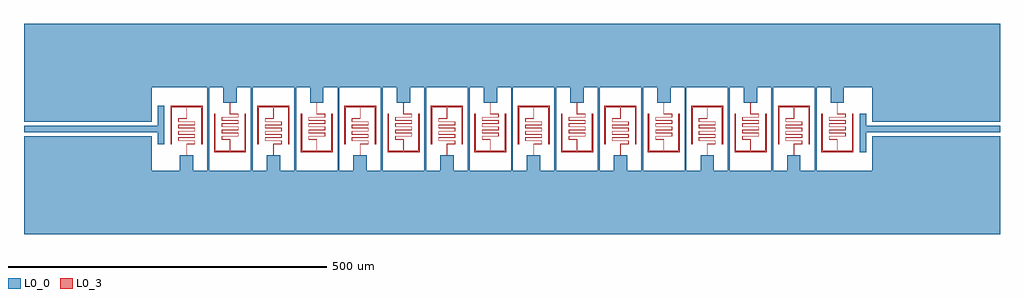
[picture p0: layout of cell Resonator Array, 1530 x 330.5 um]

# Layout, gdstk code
import gdstk
lib = gdstk.Library(unit=1e-6, precision=1e-09)
def P(c, l, *ps):  # polygons
    for p in ps: c.add(gdstk.Polygon(p, *l))
L0_0 = (0, 0)
L0_3 = (0, 3)

resonator_array = lib.new_cell('Resonator Array')
P(resonator_array, L0_0, [(-35,0),(-45,0),(-45,-31.25),(-255,-31.25),(-255,-41.25),(-45,-41.25),(-45,-60),(-35,-60)],
  [(1065,-41.25),(1275,-41.25),(1275,-31.25),(1065,-31.25),(1065,-12.5),(1055,-12.5),(1055,-72.5),(1065,-72.5)],
  [(1009.5,29),(1009.5,5),(1030,5),(1030,29),(1075,29),(1075,-25.25),(1275,-25.25),(1275,129),(-255,129),(-255,-25.25),(-55,-25.25),(-55,29),(35.5,29),(57.5,29),(57.5,5),(78.5,5),(78.5,29),(100.5,29),(100.5,-101.5),(103.5,-101.5),(103.5,29),(171.5,29),(193.5,29),(193.5,5),(214.5,5),(214.5,29),(236.5,29),(236.5,-101.5),(239.5,-101.5),(239.5,29),(307.5,29),(329.5,29),(329.5,5),(350.5,5),(350.5,29),(372.5,29),(372.5,-101.5),(375.5,-101.5),(375.5,29),(443.5,29),(465.5,29),(465.5,5),(486.5,5),(486.5,29),(508.5,29),(508.5,-101.5),(511.5,-101.5),(511.5,29),(579.5,29),(601.5,29),(601.5,5),(622.5,5),(622.5,29),(644.5,29),(644.5,-101.5),(647.5,-101.5),(647.5,29),(715.5,29),(737.5,29),(737.5,5),(758.5,5),(758.5,29),(780.5,29),(780.5,-101.5),(783.5,-101.5),(783.5,29),(851.5,29),(873.5,29),(873.5,5),(894.5,5),(894.5,29),(916.5,29),(916.5,-101.5),(919.5,-101.5),(919.5,29),(984.5,29),(984.5,-101.5),(962,-101.5),(962,-77.5),(941.5,-77.5),(941.5,-101.5),(919.5,-101.5),(916.5,-101.5),(851.5,-101.5),(851.5,29),(783.5,29),(848.5,29),(848.5,-101.5),(826.5,-101.5),(826.5,-77.5),(805.5,-77.5),(805.5,-101.5),(783.5,-101.5),(780.5,-101.5),(715.5,-101.5),(715.5,29),(647.5,29),(712.5,29),(712.5,-101.5),(690.5,-101.5),(690.5,-77.5),(669.5,-77.5),(669.5,-101.5),(647.5,-101.5),(644.5,-101.5),(579.5,-101.5),(579.5,29),(511.5,29),(576.5,29),(576.5,-101.5),(554.5,-101.5),(554.5,-77.5),(533.5,-77.5),(533.5,-101.5),(511.5,-101.5),(508.5,-101.5),(443.5,-101.5),(443.5,29),(375.5,29),(440.5,29),(440.5,-101.5),(418.5,-101.5),(418.5,-77.5),(397.5,-77.5),(397.5,-101.5),(375.5,-101.5),(372.5,-101.5),(307.5,-101.5),(307.5,29),(239.5,29),(304.5,29),(304.5,-101.5),(282.5,-101.5),(282.5,-77.5),(261.5,-77.5),(261.5,-101.5),(239.5,-101.5),(236.5,-101.5),(171.5,-101.5),(171.5,29),(103.5,29),(168.5,29),(168.5,-101.5),(146.5,-101.5),(146.5,-77.5),(125.5,-77.5),(125.5,-101.5),(103.5,-101.5),(100.5,-101.5),(35.5,-101.5),(35.5,29),(-55,29),(32.5,29),(32.5,-101.5),(10.5,-101.5),(10.5,-77.5),(-10.5,-77.5),(-10.5,-101.5),(-55,-101.5),(-55,-47.25),(-255,-47.25),(-255,-201.5),(1275,-201.5),(1275,-47.25),(1075,-47.25),(1075,-101.5),(987.5,-101.5),(987.5,29)])
P(resonator_array, L0_3, [(-25,-60),(-23,-60),(-23,-2),(23,-2),(23,-60),(25,-60),(25,0),(-25,0)],
  [(0.25,-2),(-0.25,-2),(-0.25,-19.5),(-13,-19.5),(-13,-25),(0,-25),(12.5,-25),(12.5,-29.5),(0,-29.5),(-13,-29.5),(-13,-35),(0,-35),(12.5,-35),(12.5,-39.5),(0,-39.5),(-13,-39.5),(-13,-45),(0,-45),(12.5,-45),(12.5,-49.5),(0,-49.5),(-13,-49.5),(-13,-55),(0,-55),(12.5,-55),(12.5,-59.5),(-0.25,-59.5),(-0.25,-77.5),(0.25,-77.5),(0.25,-60),(13,-60),(13,-54.5),(0,-54.5),(-12.5,-54.5),(-12.5,-50),(0,-50),(13,-50),(13,-44.5),(0,-44.5),(-12.5,-44.5),(-12.5,-40),(0,-40),(13,-40),(13,-34.5),(0,-34.5),(-12.5,-34.5),(-12.5,-30),(0,-30),(13,-30),(13,-24.5),(0,-24.5),(-12.5,-24.5),(-12.5,-20),(0.25,-20)],
  [(45,-12.5),(43,-12.5),(43,-72.5),(93,-72.5),(93,-12.5),(91,-12.5),(91,-70.5),(45,-70.5)],
  [(67.75,-70.5),(68.25,-70.5),(68.25,-52.5),(55.5,-52.5),(55.5,-48),(68,-48),(81,-48),(81,-42.5),(68,-42.5),(55.5,-42.5),(55.5,-38),(68,-38),(81,-38),(81,-32.5),(68,-32.5),(55.5,-32.5),(55.5,-28),(68,-28),(81,-28),(81,-22.5),(68,-22.5),(55.5,-22.5),(55.5,-18),(68,-18),(81,-18),(81,-12.5),(68.25,-12.5),(68.25,5),(67.75,5),(67.75,-13),(80.5,-13),(80.5,-17.5),(68,-17.5),(55,-17.5),(55,-23),(68,-23),(80.5,-23),(80.5,-27.5),(68,-27.5),(55,-27.5),(55,-33),(68,-33),(80.5,-33),(80.5,-37.5),(68,-37.5),(55,-37.5),(55,-43),(68,-43),(80.5,-43),(80.5,-47.5),(68,-47.5),(55,-47.5),(55,-53),(67.75,-53)],
  [(111,-60),(113,-60),(113,-2),(159,-2),(159,-60),(161,-60),(161,0),(111,0)],
  [(136.25,-2),(135.75,-2),(135.75,-19.5),(123,-19.5),(123,-25),(136,-25),(148.5,-25),(148.5,-29.5),(136,-29.5),(123,-29.5),(123,-35),(136,-35),(148.5,-35),(148.5,-39.5),(136,-39.5),(123,-39.5),(123,-45),(136,-45),(148.5,-45),(148.5,-49.5),(136,-49.5),(123,-49.5),(123,-55),(136,-55),(148.5,-55),(148.5,-59.5),(135.75,-59.5),(135.75,-77.5),(136.25,-77.5),(136.25,-60),(149,-60),(149,-54.5),(136,-54.5),(123.5,-54.5),(123.5,-50),(136,-50),(149,-50),(149,-44.5),(136,-44.5),(123.5,-44.5),(123.5,-40),(136,-40),(149,-40),(149,-34.5),(136,-34.5),(123.5,-34.5),(123.5,-30),(136,-30),(149,-30),(149,-24.5),(136,-24.5),(123.5,-24.5),(123.5,-20),(136.25,-20)],
  [(181,-12.5),(179,-12.5),(179,-72.5),(229,-72.5),(229,-12.5),(227,-12.5),(227,-70.5),(181,-70.5)],
  [(203.75,-70.5),(204.25,-70.5),(204.25,-52.5),(191.5,-52.5),(191.5,-48),(204,-48),(217,-48),(217,-42.5),(204,-42.5),(191.5,-42.5),(191.5,-38),(204,-38),(217,-38),(217,-32.5),(204,-32.5),(191.5,-32.5),(191.5,-28),(204,-28),(217,-28),(217,-22.5),(204,-22.5),(191.5,-22.5),(191.5,-18),(204,-18),(217,-18),(217,-12.5),(204.25,-12.5),(204.25,5),(203.75,5),(203.75,-13),(216.5,-13),(216.5,-17.5),(204,-17.5),(191,-17.5),(191,-23),(204,-23),(216.5,-23),(216.5,-27.5),(204,-27.5),(191,-27.5),(191,-33),(204,-33),(216.5,-33),(216.5,-37.5),(204,-37.5),(191,-37.5),(191,-43),(204,-43),(216.5,-43),(216.5,-47.5),(204,-47.5),(191,-47.5),(191,-53),(203.75,-53)],
  [(247,-60),(249,-60),(249,-2),(295,-2),(295,-60),(297,-60),(297,0),(247,0)],
  [(272.25,-2),(271.75,-2),(271.75,-19.5),(259,-19.5),(259,-25),(272,-25),(284.5,-25),(284.5,-29.5),(272,-29.5),(259,-29.5),(259,-35),(272,-35),(284.5,-35),(284.5,-39.5),(272,-39.5),(259,-39.5),(259,-45),(272,-45),(284.5,-45),(284.5,-49.5),(272,-49.5),(259,-49.5),(259,-55),(272,-55),(284.5,-55),(284.5,-59.5),(271.75,-59.5),(271.75,-77.5),(272.25,-77.5),(272.25,-60),(285,-60),(285,-54.5),(272,-54.5),(259.5,-54.5),(259.5,-50),(272,-50),(285,-50),(285,-44.5),(272,-44.5),(259.5,-44.5),(259.5,-40),(272,-40),(285,-40),(285,-34.5),(272,-34.5),(259.5,-34.5),(259.5,-30),(272,-30),(285,-30),(285,-24.5),(272,-24.5),(259.5,-24.5),(259.5,-20),(272.25,-20)],
  [(317,-12.5),(315,-12.5),(315,-72.5),(365,-72.5),(365,-12.5),(363,-12.5),(363,-70.5),(317,-70.5)],
  [(339.75,-70.5),(340.25,-70.5),(340.25,-52.5),(327.5,-52.5),(327.5,-48),(340,-48),(353,-48),(353,-42.5),(340,-42.5),(327.5,-42.5),(327.5,-38),(340,-38),(353,-38),(353,-32.5),(340,-32.5),(327.5,-32.5),(327.5,-28),(340,-28),(353,-28),(353,-22.5),(340,-22.5),(327.5,-22.5),(327.5,-18),(340,-18),(353,-18),(353,-12.5),(340.25,-12.5),(340.25,5),(339.75,5),(339.75,-13),(352.5,-13),(352.5,-17.5),(340,-17.5),(327,-17.5),(327,-23),(340,-23),(352.5,-23),(352.5,-27.5),(340,-27.5),(327,-27.5),(327,-33),(340,-33),(352.5,-33),(352.5,-37.5),(340,-37.5),(327,-37.5),(327,-43),(340,-43),(352.5,-43),(352.5,-47.5),(340,-47.5),(327,-47.5),(327,-53),(339.75,-53)],
  [(383,-60),(385,-60),(385,-2),(431,-2),(431,-60),(433,-60),(433,0),(383,0)],
  [(408.25,-2),(407.75,-2),(407.75,-19.5),(395,-19.5),(395,-25),(408,-25),(420.5,-25),(420.5,-29.5),(408,-29.5),(395,-29.5),(395,-35),(408,-35),(420.5,-35),(420.5,-39.5),(408,-39.5),(395,-39.5),(395,-45),(408,-45),(420.5,-45),(420.5,-49.5),(408,-49.5),(395,-49.5),(395,-55),(408,-55),(420.5,-55),(420.5,-59.5),(407.75,-59.5),(407.75,-77.5),(408.25,-77.5),(408.25,-60),(421,-60),(421,-54.5),(408,-54.5),(395.5,-54.5),(395.5,-50),(408,-50),(421,-50),(421,-44.5),(408,-44.5),(395.5,-44.5),(395.5,-40),(408,-40),(421,-40),(421,-34.5),(408,-34.5),(395.5,-34.5),(395.5,-30),(408,-30),(421,-30),(421,-24.5),(408,-24.5),(395.5,-24.5),(395.5,-20),(408.25,-20)],
  [(453,-12.5),(451,-12.5),(451,-72.5),(501,-72.5),(501,-12.5),(499,-12.5),(499,-70.5),(453,-70.5)],
  [(475.75,-70.5),(476.25,-70.5),(476.25,-52.5),(463.5,-52.5),(463.5,-48),(476,-48),(489,-48),(489,-42.5),(476,-42.5),(463.5,-42.5),(463.5,-38),(476,-38),(489,-38),(489,-32.5),(476,-32.5),(463.5,-32.5),(463.5,-28),(476,-28),(489,-28),(489,-22.5),(476,-22.5),(463.5,-22.5),(463.5,-18),(476,-18),(489,-18),(489,-12.5),(476.25,-12.5),(476.25,5),(475.75,5),(475.75,-13),(488.5,-13),(488.5,-17.5),(476,-17.5),(463,-17.5),(463,-23),(476,-23),(488.5,-23),(488.5,-27.5),(476,-27.5),(463,-27.5),(463,-33),(476,-33),(488.5,-33),(488.5,-37.5),(476,-37.5),(463,-37.5),(463,-43),(476,-43),(488.5,-43),(488.5,-47.5),(476,-47.5),(463,-47.5),(463,-53),(475.75,-53)],
  [(519,-60),(521,-60),(521,-2),(567,-2),(567,-60),(569,-60),(569,0),(519,0)],
  [(544.25,-2),(543.75,-2),(543.75,-19.5),(531,-19.5),(531,-25),(544,-25),(556.5,-25),(556.5,-29.5),(544,-29.5),(531,-29.5),(531,-35),(544,-35),(556.5,-35),(556.5,-39.5),(544,-39.5),(531,-39.5),(531,-45),(544,-45),(556.5,-45),(556.5,-49.5),(544,-49.5),(531,-49.5),(531,-55),(544,-55),(556.5,-55),(556.5,-59.5),(543.75,-59.5),(543.75,-77.5),(544.25,-77.5),(544.25,-60),(557,-60),(557,-54.5),(544,-54.5),(531.5,-54.5),(531.5,-50),(544,-50),(557,-50),(557,-44.5),(544,-44.5),(531.5,-44.5),(531.5,-40),(544,-40),(557,-40),(557,-34.5),(544,-34.5),(531.5,-34.5),(531.5,-30),(544,-30),(557,-30),(557,-24.5),(544,-24.5),(531.5,-24.5),(531.5,-20),(544.25,-20)],
  [(589,-12.5),(587,-12.5),(587,-72.5),(637,-72.5),(637,-12.5),(635,-12.5),(635,-70.5),(589,-70.5)],
  [(611.75,-70.5),(612.25,-70.5),(612.25,-52.5),(599.5,-52.5),(599.5,-48),(612,-48),(625,-48),(625,-42.5),(612,-42.5),(599.5,-42.5),(599.5,-38),(612,-38),(625,-38),(625,-32.5),(612,-32.5),(599.5,-32.5),(599.5,-28),(612,-28),(625,-28),(625,-22.5),(612,-22.5),(599.5,-22.5),(599.5,-18),(612,-18),(625,-18),(625,-12.5),(612.25,-12.5),(612.25,5),(611.75,5),(611.75,-13),(624.5,-13),(624.5,-17.5),(612,-17.5),(599,-17.5),(599,-23),(612,-23),(624.5,-23),(624.5,-27.5),(612,-27.5),(599,-27.5),(599,-33),(612,-33),(624.5,-33),(624.5,-37.5),(612,-37.5),(599,-37.5),(599,-43),(612,-43),(624.5,-43),(624.5,-47.5),(612,-47.5),(599,-47.5),(599,-53),(611.75,-53)],
  [(655,-60),(657,-60),(657,-2),(703,-2),(703,-60),(705,-60),(705,0),(655,0)],
  [(680.25,-2),(679.75,-2),(679.75,-19.5),(667,-19.5),(667,-25),(680,-25),(692.5,-25),(692.5,-29.5),(680,-29.5),(667,-29.5),(667,-35),(680,-35),(692.5,-35),(692.5,-39.5),(680,-39.5),(667,-39.5),(667,-45),(680,-45),(692.5,-45),(692.5,-49.5),(680,-49.5),(667,-49.5),(667,-55),(680,-55),(692.5,-55),(692.5,-59.5),(679.75,-59.5),(679.75,-77.5),(680.25,-77.5),(680.25,-60),(693,-60),(693,-54.5),(680,-54.5),(667.5,-54.5),(667.5,-50),(680,-50),(693,-50),(693,-44.5),(680,-44.5),(667.5,-44.5),(667.5,-40),(680,-40),(693,-40),(693,-34.5),(680,-34.5),(667.5,-34.5),(667.5,-30),(680,-30),(693,-30),(693,-24.5),(680,-24.5),(667.5,-24.5),(667.5,-20),(680.25,-20)],
  [(725,-12.5),(723,-12.5),(723,-72.5),(773,-72.5),(773,-12.5),(771,-12.5),(771,-70.5),(725,-70.5)],
  [(747.75,-70.5),(748.25,-70.5),(748.25,-52.5),(735.5,-52.5),(735.5,-48),(748,-48),(761,-48),(761,-42.5),(748,-42.5),(735.5,-42.5),(735.5,-38),(748,-38),(761,-38),(761,-32.5),(748,-32.5),(735.5,-32.5),(735.5,-28),(748,-28),(761,-28),(761,-22.5),(748,-22.5),(735.5,-22.5),(735.5,-18),(748,-18),(761,-18),(761,-12.5),(748.25,-12.5),(748.25,5),(747.75,5),(747.75,-13),(760.5,-13),(760.5,-17.5),(748,-17.5),(735,-17.5),(735,-23),(748,-23),(760.5,-23),(760.5,-27.5),(748,-27.5),(735,-27.5),(735,-33),(748,-33),(760.5,-33),(760.5,-37.5),(748,-37.5),(735,-37.5),(735,-43),(748,-43),(760.5,-43),(760.5,-47.5),(748,-47.5),(735,-47.5),(735,-53),(747.75,-53)],
  [(791,-60),(793,-60),(793,-2),(839,-2),(839,-60),(841,-60),(841,0),(791,0)],
  [(816.25,-2),(815.75,-2),(815.75,-19.5),(803,-19.5),(803,-25),(816,-25),(828.5,-25),(828.5,-29.5),(816,-29.5),(803,-29.5),(803,-35),(816,-35),(828.5,-35),(828.5,-39.5),(816,-39.5),(803,-39.5),(803,-45),(816,-45),(828.5,-45),(828.5,-49.5),(816,-49.5),(803,-49.5),(803,-55),(816,-55),(828.5,-55),(828.5,-59.5),(815.75,-59.5),(815.75,-77.5),(816.25,-77.5),(816.25,-60),(829,-60),(829,-54.5),(816,-54.5),(803.5,-54.5),(803.5,-50),(816,-50),(829,-50),(829,-44.5),(816,-44.5),(803.5,-44.5),(803.5,-40),(816,-40),(829,-40),(829,-34.5),(816,-34.5),(803.5,-34.5),(803.5,-30),(816,-30),(829,-30),(829,-24.5),(816,-24.5),(803.5,-24.5),(803.5,-20),(816.25,-20)],
  [(861,-12.5),(859,-12.5),(859,-72.5),(909,-72.5),(909,-12.5),(907,-12.5),(907,-70.5),(861,-70.5)],
  [(883.75,-70.5),(884.25,-70.5),(884.25,-52.5),(871.5,-52.5),(871.5,-48),(884,-48),(897,-48),(897,-42.5),(884,-42.5),(871.5,-42.5),(871.5,-38),(884,-38),(897,-38),(897,-32.5),(884,-32.5),(871.5,-32.5),(871.5,-28),(884,-28),(897,-28),(897,-22.5),(884,-22.5),(871.5,-22.5),(871.5,-18),(884,-18),(897,-18),(897,-12.5),(884.25,-12.5),(884.25,5),(883.75,5),(883.75,-13),(896.5,-13),(896.5,-17.5),(884,-17.5),(871,-17.5),(871,-23),(884,-23),(896.5,-23),(896.5,-27.5),(884,-27.5),(871,-27.5),(871,-33),(884,-33),(896.5,-33),(896.5,-37.5),(884,-37.5),(871,-37.5),(871,-43),(884,-43),(896.5,-43),(896.5,-47.5),(884,-47.5),(871,-47.5),(871,-53),(883.75,-53)],
  [(927,-60),(929,-60),(929,-2),(975,-2),(975,-60),(977,-60),(977,0),(927,0)],
  [(952.25,-2),(951.75,-2),(951.75,-19.5),(939,-19.5),(939,-25),(952,-25),(964.5,-25),(964.5,-29.5),(952,-29.5),(939,-29.5),(939,-35),(952,-35),(964.5,-35),(964.5,-39.5),(952,-39.5),(939,-39.5),(939,-45),(952,-45),(964.5,-45),(964.5,-49.5),(952,-49.5),(939,-49.5),(939,-55),(952,-55),(964.5,-55),(964.5,-59.5),(951.75,-59.5),(951.75,-77.5),(952.25,-77.5),(952.25,-60),(965,-60),(965,-54.5),(952,-54.5),(939.5,-54.5),(939.5,-50),(952,-50),(965,-50),(965,-44.5),(952,-44.5),(939.5,-44.5),(939.5,-40),(952,-40),(965,-40),(965,-34.5),(952,-34.5),(939.5,-34.5),(939.5,-30),(952,-30),(965,-30),(965,-24.5),(952,-24.5),(939.5,-24.5),(939.5,-20),(952.25,-20)],
  [(997,-12.5),(995,-12.5),(995,-72.5),(1045,-72.5),(1045,-12.5),(1043,-12.5),(1043,-70.5),(997,-70.5)],
  [(1019.75,-70.5),(1020.25,-70.5),(1020.25,-52.5),(1007.5,-52.5),(1007.5,-48),(1020,-48),(1033,-48),(1033,-42.5),(1020,-42.5),(1007.5,-42.5),(1007.5,-38),(1020,-38),(1033,-38),(1033,-32.5),(1020,-32.5),(1007.5,-32.5),(1007.5,-28),(1020,-28),(1033,-28),(1033,-22.5),(1020,-22.5),(1007.5,-22.5),(1007.5,-18),(1020,-18),(1033,-18),(1033,-12.5),(1020.25,-12.5),(1020.25,5),(1019.75,5),(1019.75,-13),(1032.5,-13),(1032.5,-17.5),(1020,-17.5),(1007,-17.5),(1007,-23),(1020,-23),(1032.5,-23),(1032.5,-27.5),(1020,-27.5),(1007,-27.5),(1007,-33),(1020,-33),(1032.5,-33),(1032.5,-37.5),(1020,-37.5),(1007,-37.5),(1007,-43),(1020,-43),(1032.5,-43),(1032.5,-47.5),(1020,-47.5),(1007,-47.5),(1007,-53),(1019.75,-53)])

lib.write_gds('Resonator_Array.gds')
